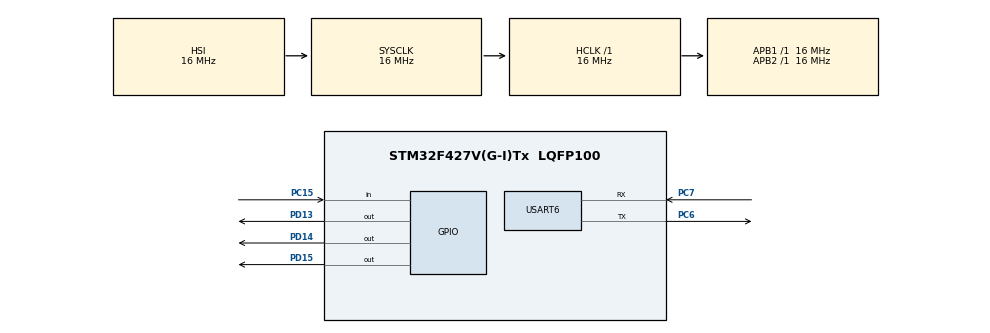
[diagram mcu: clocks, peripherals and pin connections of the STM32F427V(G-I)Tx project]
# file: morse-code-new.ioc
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Mcu.Family=STM32F4
Mcu.Name=STM32F427V(G-I)Tx
Mcu.Package=LQFP100
NVIC.PriorityGroup=NVIC_PRIORITYGROUP_4
NVIC.USART6_IRQn=true\:0\:0\:false\:false\:true\:true\:true\:true
PA13.Mode=JTAG_5_pins
PA13.Signal=SYS_JTMS-SWDIO
PA14.Mode=JTAG_5_pins
PA14.Signal=SYS_JTCK-SWCLK
PA15.Mode=JTAG_5_pins
PA15.Signal=SYS_JTDI
PB3.Mode=JTAG_5_pins
PB3.Signal=SYS_JTDO-SWO
PB4.Mode=JTAG_5_pins
PB4.Signal=SYS_JTRST
PC15/OSC32_OUT.Signal=GPIO_Input
PC6.Mode=Asynchronous
PC6.Signal=USART6_TX
PC7.Mode=Asynchronous
PC7.Signal=USART6_RX
PD13.Signal=GPIO_Output
PD14.Signal=GPIO_Output
PD15.Signal=GPIO_Output
ProjectManager.HeapSize=0x200
ProjectManager.StackSize=0x400
ProjectManager.TargetToolchain=STM32CubeIDE
RCC.AHBFreq_Value=16000000
RCC.APB1Freq_Value=16000000
RCC.APB2Freq_Value=16000000
RCC.CortexFreq_Value=16000000
RCC.HSE_VALUE=25000000
RCC.HSI_VALUE=16000000
RCC.LSE_VALUE=32768
RCC.SYSCLKFreq_VALUE=16000000
RCC.VCOOutputFreq_Value=192000000
USART6.VirtualMode=VM_ASYNC
board=custom

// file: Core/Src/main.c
/* USER CODE BEGIN Header */
/**
  ******************************************************************************
  * @file           : main.c
  * @brief          : Main program body
  ******************************************************************************
  * @attention
  *
  * Copyright (c) 2024 STMicroelectronics.
  * All rights reserved.
  *
  * This software is licensed under terms that can be found in the LICENSE file
  * in the root directory of this software component.
  * If no LICENSE file comes with this software, it is provided AS-IS.
  *
  ******************************************************************************
  */
/* USER CODE END Header */
#include "main.h"
/* USER CODE BEGIN Includes */
#include "math.h"
/* USER CODE END Includes */

 UART_HandleTypeDef huart6;

void SystemClock_Config(void);
static void MX_GPIO_Init(void);
static void MX_USART6_UART_Init(void);

/* USER CODE BEGIN 0 */
char letters[] = "0123456789ABCDEFGHIJKLMNOPQRSTUVWXYZ";
int morse[] = {22222, 12222, 11222, 11122, 11112, 11111, 21111, 22111, 22211, 22221, 12, 2111, 2121, 211, 1, 1121, 221, 1111, 11, 1222, 212, 1211, 22, 21, 222, 1221, 2212, 121, 111, 2, 112, 1112, 122, 2112, 2122, 2211};
_Bool isUseInterrupts = 0;

char buffer[8];
int bufferGetPosition = 0;
int bufferAddPosition = 0;

_Bool isPressed() { return HAL_GPIO_ReadPin(GPIOC, GPIO_PIN_15) == GPIO_PIN_RESET; }

_Bool isNotPressed() { return HAL_GPIO_ReadPin(GPIOC, GPIO_PIN_15) == GPIO_PIN_SET; }

_Bool isBufferEmpty() { return (buffer[0] == 0 && buffer[1] == 0 && buffer[2] == 0 && buffer[3] == 0 && buffer[4] == 0 && buffer[5] == 0 && buffer[6] == 0 && buffer[7] == 0); }

_Bool isBufferFull() { return (buffer[0] != 0 && buffer[1] != 0  && buffer[2] != 0 && buffer[3] != 0 && buffer[4] != 0 && buffer[5] != 0 && buffer[6] != 0 && buffer[7] != 0); }

void turnOn() {
	HAL_GPIO_WritePin(GPIOD, GPIO_PIN_13, GPIO_PIN_SET);
}

void turnOff() {
	HAL_GPIO_WritePin(GPIOD, GPIO_PIN_13, GPIO_PIN_RESET);
}

void addToBuffer(char s) {
	buffer[bufferAddPosition] = s;
	bufferAddPosition++;
	if (bufferAddPosition > 7) {
		bufferAddPosition = 0;
	}
}

char getCharFromBuffer() {
	char toReturn = buffer[bufferGetPosition];
	buffer[bufferGetPosition] = 0;
	bufferGetPosition++;
	if (bufferGetPosition > 7) {
		bufferGetPosition = 0;
	}
	return toReturn;
}

int getMorseCode(char s) {
	int position = -1;
	for (int i = 0; i < sizeof(letters); i++) {
		if (s == letters[i]) {
			position = i;
			break;
		}
	}
	if (position >= 0) {
		return morse[position];
	} else {
		return position;
	}
}

char getCharByMorseCode(int s) {
	int position = -1;
	for (int i = 0; i < sizeof(morse); i++) {
		if (s == morse[i]) {
			position = i;
			break;
		}
	}
	if (position >= 0) {
		return letters[position];
	} else {
		return '-';
	}
}

int uart6_recieve_finished;
int uart6_transmit_ongoing;

static uint8_t uart6_buf;

HAL_StatusTypeDef uart6_start_recieve_char_it() {
	uart6_recieve_finished = 0;
	return HAL_UART_Receive_IT(&huart6, &uart6_buf, 1);
}

int uart6_try_get_received_char(uint8_t *buf) {
	if (uart6_recieve_finished) {
		*buf = uart6_buf;
		return 1;
	}

	return 0;
}

HAL_StatusTypeDef uart6_transmit_it (uint8_t *buf, int len) {
	while (uart6_transmit_ongoing);

	uart6_transmit_ongoing = 1;
	return HAL_UART_Transmit_IT(&huart6, buf, len);
}

void HAL_UART_RxCpltCallback(UART_HandleTypeDef *huart) {
	if (huart->Instance == USART6) {
		uart6_recieve_finished = 1;
	}
}

void HAL_UART_TxCpltCallback(UART_HandleTypeDef *huart) {
	if (huart->Instance == USART6) {
		uart6_transmit_ongoing = 0;
	}
}

/* USER CODE END 0 */

int main(void)
{

  /* MCU Configuration--------------------------------------------------------*/

  /* Reset of all peripherals, Initializes the Flash interface and the Systick. */
  HAL_Init();

  /* Configure the system clock */
  SystemClock_Config();

  /* Initialize all configured peripherals */
  MX_GPIO_Init();
  MX_USART6_UART_Init();

  /* Infinite loop */
  /* USER CODE BEGIN WHILE */
  char recieved, current, toSend[3];
  int currentMorse = -1;
  int morseTen = 5;
  int btnMorse = 0;
  int btnCounter = 0;
  _Bool isLightOn = 0;
  _Bool isPause = 0;
  _Bool isBtnPressed = 0;
  _Bool isBtnPause = 0;
  uint32_t blinkStartTime, pauseStartTime, diffLO, diffPause, btnStart, btnDiff, btnPauseStart, btnPauseDiff;
  int blinkingMode;
  char err[] = "Unsupported symbol by button \n";
  char intOn[] = "Interrupts turned On \n";
  char intOff[] = "Interrupts turned Off \n";
  char ready[] = "Ready for work \n";

  HAL_UART_Transmit(&huart6, (uint8_t *) ready, sizeof(ready), 10);

  while (1)
  {
    /* USER CODE END WHILE */

    /* USER CODE BEGIN 3 */
	  if (!isUseInterrupts) {
		//No Interrupts
		if (HAL_OK == HAL_UART_Receive(&huart6, (uint8_t *) &recieved, 1, 1)) {
			char toret[3];
			toret[0] = recieved;
			toret[1] = '\n';
			toret[2] = '\r';
			HAL_UART_Transmit(&huart6, (uint8_t *) toret, 3, 10);

			if (recieved == '+') {
				isUseInterrupts = 1;
				HAL_UART_Transmit(&huart6, (uint8_t *) intOn, sizeof(intOn), 10);
				HAL_NVIC_EnableIRQ(USART6_IRQn);
				uart6_start_recieve_char_it();
				continue;
			}

			if (!isBufferFull()) {
				addToBuffer(recieved);
			}

		}

		if (!isLightOn && !isPause) {
			if (!isBufferEmpty() && currentMorse < 0) {
				current = getCharFromBuffer();
				currentMorse = getMorseCode(current);
			}

			if (currentMorse >= 0) {
				blinkingMode = currentMorse / pow(10, morseTen);
				currentMorse = currentMorse % (int)pow(10, morseTen);
				morseTen--;
				if (morseTen == -1) {
					morseTen = 5;
					currentMorse = -1;
				}

				if (blinkingMode > 0) {
					blinkStartTime = HAL_GetTick();
					turnOn();
					isLightOn = 1;
				}

			}
		}

		if (isLightOn) {
			diffLO = HAL_GetTick() - blinkStartTime;
			if (blinkingMode == 1) {
				if (diffLO >= 300) {
					turnOff();
					pauseStartTime = HAL_GetTick();
					isLightOn = 0;
					isPause = 1;
				}
			} else if (blinkingMode == 2) {
				if (diffLO >= 700) {
					turnOff();
					pauseStartTime = HAL_GetTick();
					isLightOn = 0;
					isPause = 1;
				}
			}
		}

		if (isPause) {
			diffPause = HAL_GetTick() - pauseStartTime;
			if (diffPause >= 300) {
				isPause = 0;
			}
		}

		if (!isBtnPressed) {
			if (isPressed()) {
				isBtnPressed = 1;
				isBtnPause = 0;
				btnStart = HAL_GetTick();
			}
		}

		if (isBtnPressed) {
			if (isNotPressed()) {
				isBtnPressed = 0;
				isBtnPause = 1;
				btnDiff = HAL_GetTick() - btnStart;
				btnPauseStart = HAL_GetTick();

				if (btnDiff >= 100) {
					if (btnDiff < 500) {
						btnMorse = btnMorse * 10 + 1;
						btnCounter++;
					} else {
						btnMorse = btnMorse * 10 + 2;
						btnCounter++;
					}
				}
			}
		}

		if (isBtnPause) {
			if (isNotPressed()) {
				btnPauseDiff = HAL_GetTick() - btnPauseStart;

				if (btnPauseDiff > 1000) {
					toSend[0] = getCharByMorseCode(btnMorse);
					if (toSend[0] == '-') {
						HAL_UART_Transmit(&huart6, (uint8_t *) err, sizeof(err), 10);
					} else {
						toSend[1] = '\n';
						toSend[2] = '\r';
						HAL_UART_Transmit(&huart6, (uint8_t *) toSend, 3, 10);

						if (!isBufferFull()) {
							addToBuffer(toSend[0]);
						}
					}
					isBtnPause = 0;
					btnMorse = 0;
					btnCounter = 0;
				}
			}
		}

	  } else {
		//With Interrupts
		if (uart6_try_get_received_char((uint8_t *) &recieved)) {
			uart6_start_recieve_char_it();

			char toret[3];
			toret[0] = recieved;
			toret[1] = '\n';
			toret[2] = '\r';
			uart6_transmit_it((uint8_t *) &toret, 3);
			if (recieved == '+') {
				isUseInterrupts = 0;
				HAL_UART_Abort_IT(&huart6);
				HAL_NVIC_DisableIRQ(USART6_IRQn);
				HAL_UART_Transmit(&huart6, (uint8_t *) intOff, sizeof(intOff), 10);
				continue;
			}

			if (!isBufferFull()) {
				addToBuffer(recieved);
			}
		}

		if (!isLightOn && !isPause) {
			if (!isBufferEmpty() && currentMorse < 0) {
				current = getCharFromBuffer();
				currentMorse = getMorseCode(current);
			}

			if (currentMorse >= 0) {
				blinkingMode = currentMorse / pow(10, morseTen);
				currentMorse = currentMorse % (int)pow(10, morseTen);
				morseTen--;
				if (morseTen == -1) {
					morseTen = 5;
					currentMorse = -1;
				}

				if (blinkingMode > 0) {
					blinkStartTime = HAL_GetTick();
					turnOn();
					isLightOn = 1;
				}

			}
		}

		if (isLightOn) {
			diffLO = HAL_GetTick() - blinkStartTime;
			if (blinkingMode == 1) {
				if (diffLO >= 300) {
					turnOff();
					pauseStartTime = HAL_GetTick();
					isLightOn = 0;
					isPause = 1;
				}
			} else if (blinkingMode == 2) {
				if (diffLO >= 700) {
					turnOff();
					pauseStartTime = HAL_GetTick();
					isLightOn = 0;
					isPause = 1;
				}
			}
		}

		if (isPause) {
			diffPause = HAL_GetTick() - pauseStartTime;
			if (diffPause >= 300) {
				isPause = 0;
			}
		}

		if (!isBtnPressed) {
			if (isPressed()) {
				isBtnPressed = 1;
				isBtnPause = 0;
				btnStart = HAL_GetTick();
			}
		}

		if (isBtnPressed) {
			if (isNotPressed()) {
				isBtnPressed = 0;
				isBtnPause = 1;
				btnDiff = HAL_GetTick() - btnStart;
				btnPauseStart = HAL_GetTick();

				if (btnDiff >= 100) {
					if (btnDiff < 500) {
						btnMorse = btnMorse * 10 + 1;
						btnCounter++;
					} else {
						btnMorse = btnMorse * 10 + 2;
						btnCounter++;
					}
				}
			}
		}

		if (isBtnPause) {
			if (isNotPressed()) {
				btnPauseDiff = HAL_GetTick() - btnPauseStart;

				if (btnPauseDiff > 1000) {
					toSend[0] = getCharByMorseCode(btnMorse);
					if (toSend[0] == '-') {
						uart6_transmit_it((uint8_t *) &err, sizeof(err));
					} else {
						toSend[1] = '\n';
						toSend[2] = '\r';
						uart6_transmit_it((uint8_t *) &toSend, sizeof(toSend));

						if (!isBufferFull()) {
							addToBuffer(toSend[0]);
						}
					}
					isBtnPause = 0;
					btnMorse = 0;
					btnCounter = 0;
				}
			}
		}
	}

  }
  /* USER CODE END 3 */
}

void SystemClock_Config(void)
{
  RCC_OscInitTypeDef RCC_OscInitStruct = {0};
  RCC_ClkInitTypeDef RCC_ClkInitStruct = {0};

  /** Configure the main internal regulator output voltage
  */
  __HAL_RCC_PWR_CLK_ENABLE();
  __HAL_PWR_VOLTAGESCALING_CONFIG(PWR_REGULATOR_VOLTAGE_SCALE3);

  /** Initializes the RCC Oscillators according to the specified parameters
  * in the RCC_OscInitTypeDef structure.
  */
  RCC_OscInitStruct.OscillatorType = RCC_OSCILLATORTYPE_HSI;
  RCC_OscInitStruct.HSIState = RCC_HSI_ON;
  RCC_OscInitStruct.HSICalibrationValue = RCC_HSICALIBRATION_DEFAULT;
  RCC_OscInitStruct.PLL.PLLState = RCC_PLL_NONE;
  if (HAL_RCC_OscConfig(&RCC_OscInitStruct) != HAL_OK)
  {
    Error_Handler();
  }

  /** Initializes the CPU, AHB and APB buses clocks
  */
  RCC_ClkInitStruct.ClockType = RCC_CLOCKTYPE_HCLK|RCC_CLOCKTYPE_SYSCLK
                              |RCC_CLOCKTYPE_PCLK1|RCC_CLOCKTYPE_PCLK2;
  RCC_ClkInitStruct.SYSCLKSource = RCC_SYSCLKSOURCE_HSI;
  RCC_ClkInitStruct.AHBCLKDivider = RCC_SYSCLK_DIV1;
  RCC_ClkInitStruct.APB1CLKDivider = RCC_HCLK_DIV1;
  RCC_ClkInitStruct.APB2CLKDivider = RCC_HCLK_DIV1;

  if (HAL_RCC_ClockConfig(&RCC_ClkInitStruct, FLASH_LATENCY_0) != HAL_OK)
  {
    Error_Handler();
  }
}

static void MX_USART6_UART_Init(void)
{

  huart6.Instance = USART6;
  huart6.Init.BaudRate = 115200;
  huart6.Init.WordLength = UART_WORDLENGTH_8B;
  huart6.Init.StopBits = UART_STOPBITS_1;
  huart6.Init.Parity = UART_PARITY_NONE;
  huart6.Init.Mode = UART_MODE_TX_RX;
  huart6.Init.HwFlowCtl = UART_HWCONTROL_NONE;
  huart6.Init.OverSampling = UART_OVERSAMPLING_16;
  if (HAL_UART_Init(&huart6) != HAL_OK)
  {
    Error_Handler();
  }

}

static void MX_GPIO_Init(void)
{
  GPIO_InitTypeDef GPIO_InitStruct = {0};

  /* GPIO Ports Clock Enable */
  __HAL_RCC_GPIOC_CLK_ENABLE();
  __HAL_RCC_GPIOD_CLK_ENABLE();
  __HAL_RCC_GPIOA_CLK_ENABLE();
  __HAL_RCC_GPIOB_CLK_ENABLE();

  /*Configure GPIO pin Output Level */
  HAL_GPIO_WritePin(GPIOD, GPIO_PIN_13|GPIO_PIN_14|GPIO_PIN_15, GPIO_PIN_RESET);

  /*Configure GPIO pin : PC15 */
  GPIO_InitStruct.Pin = GPIO_PIN_15;
  GPIO_InitStruct.Mode = GPIO_MODE_INPUT;
  GPIO_InitStruct.Pull = GPIO_NOPULL;
  HAL_GPIO_Init(GPIOC, &GPIO_InitStruct);

  /*Configure GPIO pins : PD13 PD14 PD15 */
  GPIO_InitStruct.Pin = GPIO_PIN_13|GPIO_PIN_14|GPIO_PIN_15;
  GPIO_InitStruct.Mode = GPIO_MODE_OUTPUT_PP;
  GPIO_InitStruct.Pull = GPIO_NOPULL;
  GPIO_InitStruct.Speed = GPIO_SPEED_FREQ_LOW;
  HAL_GPIO_Init(GPIOD, &GPIO_InitStruct);

}

void Error_Handler(void)
{
  __disable_irq();
  while (1)
  {
  }
}
